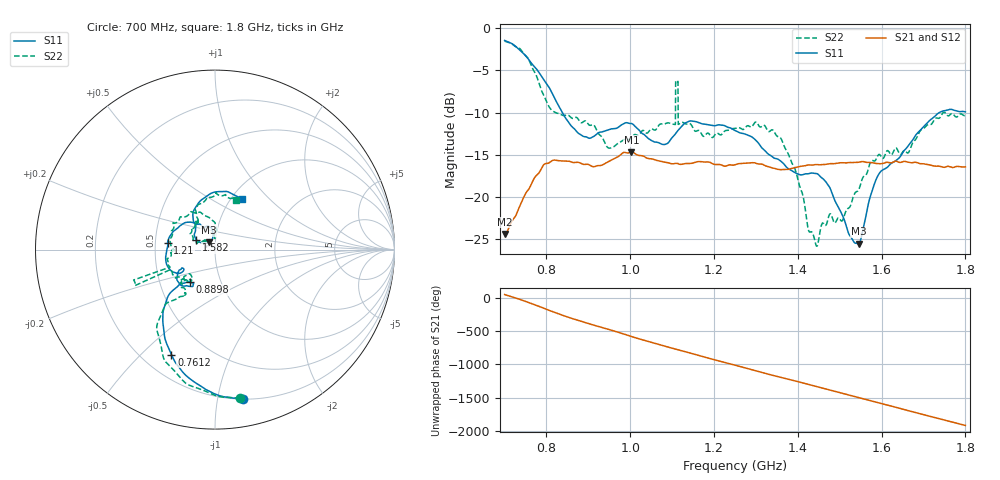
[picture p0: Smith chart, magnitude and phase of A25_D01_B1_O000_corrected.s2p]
! Created with skrf 1.9.0 (http://scikit-rf.org).
# Hz S RI R 50.0
!freq ReS11 ImS11 ReS21 ImS21 ReS12 ImS12 ReS22 ImS22
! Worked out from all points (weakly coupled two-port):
!   1601 points, 700 MHz to 1.8 GHz, reference 50 ohm
!   highest |S21| = -14.70 dB at 1.002 GHz (marker M1); lowest = -24.4 dB at 700 MHz (marker M2)
!   lowest |S11| = -25.6 dB at 1.545 GHz (marker M3), VSWR 1.11, Z = 46.6 + j3.78 ohm
!   |S11| at or under -10 dB: 837.7 MHz to 1.738 GHz (899.9 MHz wide, 69.9 % of centre)
!   |S22| runs from -25.9 to -1.5 dB; largest |S21 - S12| = 0.0036
!   S11 on the Smith chart (normalised r, x): 700 MHz: 0.20, -1.19; 761.2 MHz: 0.32, -0.62; 889.8 MHz: 0.71, -0.27; 1.21 GHz: 0.58, +0.05; 1.582 GHz: 0.81, +0.09; 1.8 GHz: 1.12, +0.70
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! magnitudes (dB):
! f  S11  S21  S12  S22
! 700 MHz  -1.4  -24.4  -24.2  -1.5
! 761.2 MHz  -4.0  -18.8  -18.7  -4.1
! 810.7 MHz  -7.4  -15.8  -15.7  -9.6
! 883.6 MHz  -12.7  -16.1  -16.0  -11.2
! 889.8 MHz  -12.9  -16.2  -16.1  -11.0
! 948.9 MHz  -12.0  -15.8  -15.8  -14.2
! 1.002 GHz  -11.3  -14.7  -14.8  -13.1
! 1.067 GHz  -13.6  -15.7  -15.7  -11.6
! 1.102 GHz  -12.9  -16.1  -16.0  -11.4
! 1.114 GHz  -12.1  -16.0  -16.1  -6.3
! 1.12 GHz  -11.8  -16.2  -16.1  -11.2
! 1.21 GHz  -11.5  -16.2  -16.2  -12.5
! 1.25 GHz  -12.1  -16.2  -16.1  -11.9
! 1.359 GHz  -15.8  -16.8  -16.8  -13.1
! 1.434 GHz  -17.2  -16.2  -16.2  -24.2
! 1.506 GHz  -22.2  -16.0  -16.0  -22.9
! 1.545 GHz  -25.6  -15.9  -15.9  -19.2
! 1.582 GHz  -18.6  -16.0  -16.0  -15.8
! 1.617 GHz  -16.3  -15.9  -15.9  -14.6
! 1.663 GHz  -14.0  -15.9  -15.9  -14.8
! 1.735 GHz  -10.1  -16.4  -16.4  -10.7
! 1.8 GHz  -9.9  -16.5  -16.5  -10.4
